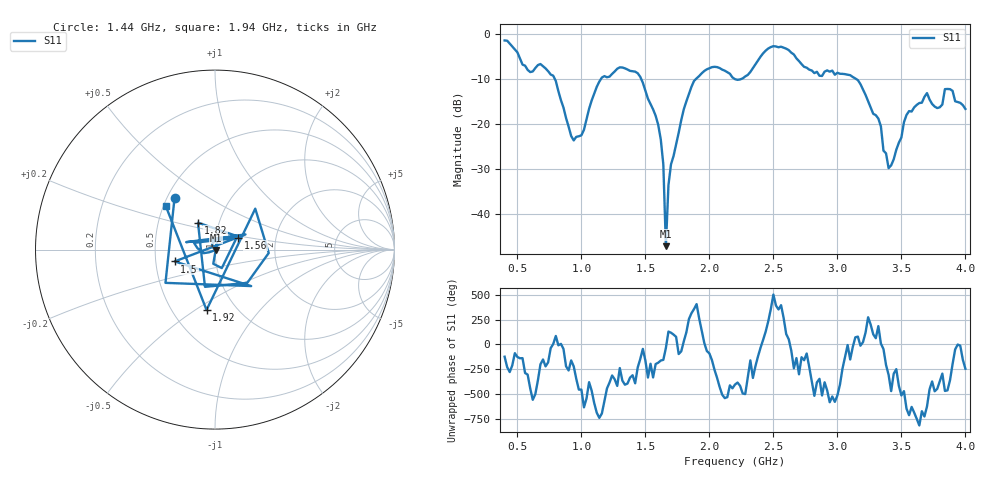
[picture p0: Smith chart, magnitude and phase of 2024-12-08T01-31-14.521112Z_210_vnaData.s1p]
!Created with skrf (http://scikit-rf.org).
# Hz S RI R 50.0
!freq ReS11 ImS11
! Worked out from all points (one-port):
!   181 points, 400 MHz to 4 GHz, reference 50 ohm
!   lowest |S11| = -47.2 dB at 1.66 GHz (marker M1), VSWR 1.01, Z = 50.4 - j0.258 ohm
!   |S11| at or under -10 dB: 791.8 MHz to 1.154 GHz (361.7 MHz wide, 37.2 % of centre); 1.467 GHz to 1.896 GHz (429.7 MHz wide, 25.6 % of centre); 3.144 GHz to end of sweep (the widest 3 of 4)
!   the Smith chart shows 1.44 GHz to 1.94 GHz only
!   S11 on the Smith chart (normalised r, x): 1.44 GHz: 0.55, +0.36; 1.5 GHz: 0.63, -0.09; 1.56 GHz: 1.28, +0.17; 1.82 GHz: 0.79, +0.25; 1.92 GHz: 0.73, -0.56; 1.94 GHz: 0.52, +0.29
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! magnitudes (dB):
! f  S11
! 400 MHz  -1.5
! 780 MHz  -9.3
! 860 MHz  -16.4
! 940 MHz  -23.7
! 1 GHz  -22.6
! 1.14 GHz  -10.6
! 1.3 GHz  -7.4
! 1.44 GHz  -8.8
! 1.5 GHz  -12.6
! 1.56 GHz  -16.8
! 1.64 GHz  -29.0
! 1.66 GHz  -47.2
! 1.68 GHz  -33.7
! 1.76 GHz  -22.0
! 1.82 GHz  -15.0
! 1.92 GHz  -9.4
! 1.94 GHz  -8.8
! 2.2 GHz  -10.1
! 2.48 GHz  -2.9
! 2.66 GHz  -4.6
! 3.1 GHz  -9.2
! 3.32 GHz  -18.8
! 3.4 GHz  -29.9
! 3.56 GHz  -17.2
! 3.7 GHz  -13.2
! 3.8 GHz  -16.3
! 3.86 GHz  -12.3
! 4 GHz  -16.7
